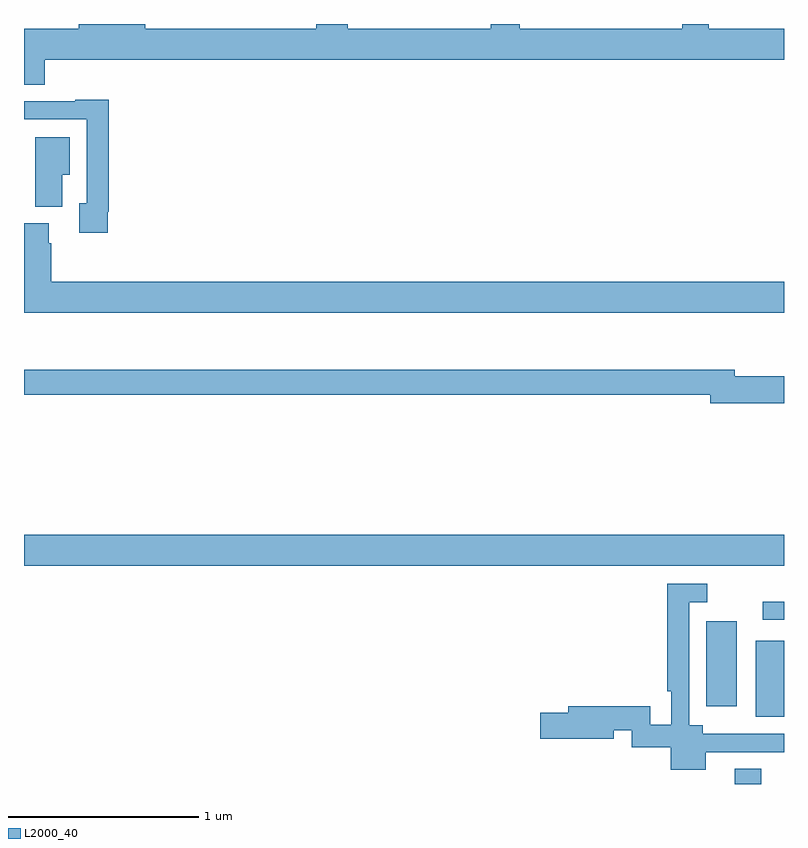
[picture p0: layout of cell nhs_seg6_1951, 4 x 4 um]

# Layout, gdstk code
import gdstk
lib = gdstk.Library(unit=1e-6, precision=1e-09)
def R(c, l, rs):  # rectangles x0, y0, x1, y1
    for r in rs: c.add(gdstk.rectangle(r[:2], r[2:], *l))
def P(c, l, *ps):  # polygons
    for p in ps: c.add(gdstk.Polygon(p, *l))
L2000_40 = (2000, 40)

nhs_seg6_1951 = lib.new_cell('nhs_seg6_1951')
R(nhs_seg6_1951, L2000_40, [(230.741,967.5,230.881,967.579), (230.852,967.853,231,968.254), (230.591,967.908,230.752,968.356), (230.889,968.364,231,968.46), (227,968.648,231,968.812)])
P(nhs_seg6_1951, L2000_40, [(231,971.476),(230.604,971.476),(230.604,971.5),(230.465,971.5),(230.465,971.476),(229.609,971.476),(229.609,971.5),(229.457,971.5),(229.457,971.476),(228.704,971.476),(228.704,971.5),(228.539,971.5),(228.539,971.476),(227.638,971.476),(227.638,971.5),(227.288,971.5),(227.288,971.476),(227,971.476),(227,971.179),(227.108,971.179),(227.108,971.312),(231,971.312)],
  [(227.44,970.513),(227.447,970.513),(227.447,971.101),(227.271,971.101),(227.271,971.094),(227,971.094),(227,970.998),(227.331,970.998),(227.331,970.557),(227.291,970.557),(227.291,970.401),(227.44,970.401)],
  [(227.2,970.706),(227.242,970.706),(227.242,970.903),(227.06,970.903),(227.06,970.537),(227.2,970.537)],
  [(231,970.144),(227.144,970.144),(227.144,970.346),(227.131,970.346),(227.131,970.452),(227,970.452),(227,969.98),(231,969.98)],
  [(231,969.645),(230.74,969.645),(230.74,969.679),(227,969.679),(227,969.55),(230.612,969.55),(230.612,969.503),(231,969.503)],
  [(230.587,967.668),(231,967.668),(231,967.764),(230.572,967.764),(230.572,967.81),(230.502,967.81),(230.502,968.457),(230.596,968.457),(230.596,968.553),(230.386,968.553),(230.386,967.988),(230.406,967.988),(230.406,967.811),(230.295,967.811),(230.295,967.91),(229.865,967.91),(229.865,967.874),(229.716,967.874),(229.716,967.739),(230.104,967.739),(230.104,967.782),(230.199,967.782),(230.199,967.694),(230.405,967.694),(230.405,967.574),(230.587,967.574)])

lib.write_gds('nhs_seg6_1951.gds')
